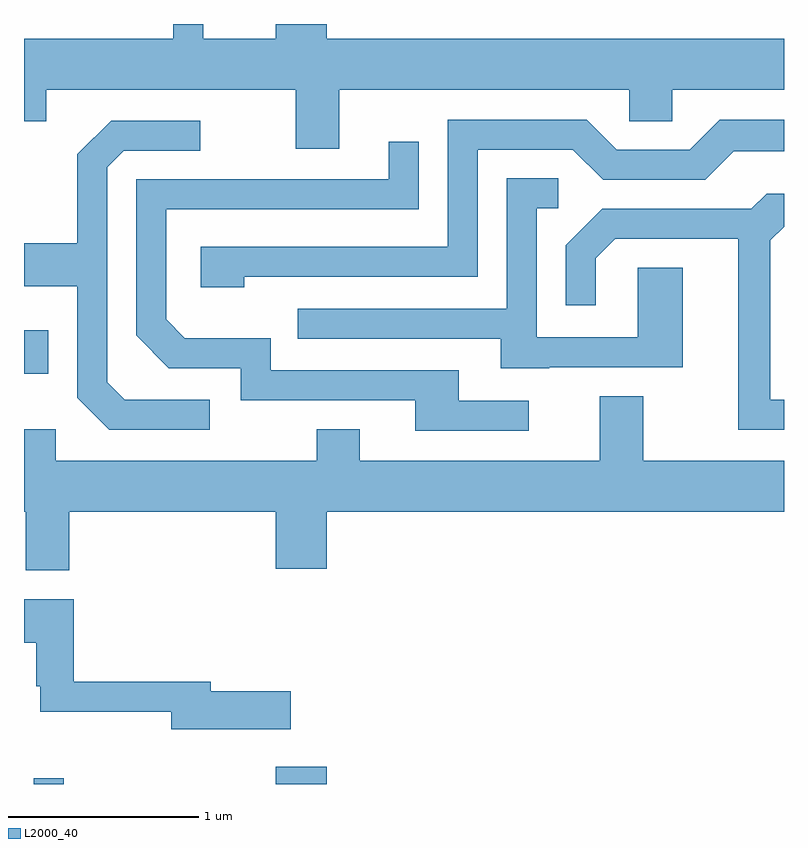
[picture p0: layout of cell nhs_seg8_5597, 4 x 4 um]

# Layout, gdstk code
import gdstk
lib = gdstk.Library(unit=1e-6, precision=1e-09)
def R(c, l, rs):  # rectangles x0, y0, x1, y1
    for r in rs: c.add(gdstk.rectangle(r[:2], r[2:], *l))
def P(c, l, *ps):  # polygons
    for p in ps: c.add(gdstk.Polygon(p, *l))
L2000_40 = (2000, 40)

nhs_seg8_5597 = lib.new_cell('nhs_seg8_5597')
R(nhs_seg8_5597, L2000_40, [(353.661,1808.342,353.819,1808.373), (354.936,1808.342,355.204,1808.434), (353.611,1810.501,353.739,1810.729)])
P(nhs_seg8_5597, L2000_40, [(355.269,1811.996),(356.796,1811.996),(356.796,1811.831),(357.024,1811.831),(357.024,1811.996),(357.611,1811.996),(357.611,1812.264),(355.204,1812.264),(355.204,1812.342),(354.936,1812.342),(354.936,1812.264),(354.554,1812.264),(354.554,1812.342),(354.396,1812.342),(354.396,1812.264),(353.611,1812.264),(353.611,1811.831),(353.729,1811.831),(353.729,1811.996),(355.041,1811.996),(355.041,1811.686),(355.269,1811.686)],
  [(354.769,1811.011),(355.999,1811.011),(355.999,1811.681),(356.499,1811.681),(356.659,1811.521),(357.197,1811.521),(357.347,1811.671),(357.611,1811.671),(357.611,1811.839),(357.274,1811.839),(357.114,1811.679),(356.732,1811.679),(356.572,1811.839),(355.841,1811.839),(355.841,1811.169),(354.541,1811.169),(354.541,1810.956),(354.769,1810.956)],
  [(354.588,1810.364),(354.142,1810.364),(354.049,1810.457),(354.049,1811.589),(354.137,1811.676),(354.538,1811.676),(354.538,1811.834),(354.069,1811.834),(353.891,1811.657),(353.891,1811.189),(353.611,1811.189),(353.611,1810.961),(353.891,1810.961),(353.891,1810.374),(354.059,1810.206),(354.588,1810.206)],
  [(356.268,1810.359),(355.899,1810.359),(355.899,1810.519),(354.909,1810.519),(354.909,1810.689),(354.457,1810.689),(354.359,1810.787),(354.359,1811.366),(355.689,1811.366),(355.689,1811.723),(355.531,1811.723),(355.531,1811.524),(354.201,1811.524),(354.201,1810.704),(354.374,1810.531),(354.751,1810.531),(354.751,1810.361),(355.671,1810.361),(355.671,1810.201),(356.268,1810.201)],
  [(356.375,1810.536),(357.079,1810.536),(357.079,1811.059),(356.841,1811.059),(356.841,1810.694),(356.309,1810.694),(356.309,1811.371),(356.423,1811.371),(356.423,1811.529),(356.151,1811.529),(356.151,1810.844),(355.053,1810.844),(355.053,1810.686),(356.121,1810.686),(356.121,1810.531),(356.375,1810.531)],
  [(357.611,1810.364),(357.539,1810.364),(357.539,1811.204),(357.611,1811.275),(357.611,1811.449),(357.519,1811.449),(357.439,1811.369),(356.654,1811.369),(356.461,1811.177),(356.461,1810.863),(356.619,1810.863),(356.619,1811.109),(356.722,1811.211),(357.371,1811.211),(357.371,1810.206),(357.611,1810.206)],
  [(353.849,1809.776),(354.936,1809.776),(354.936,1809.476),(355.204,1809.476),(355.204,1809.776),(357.611,1809.776),(357.611,1810.044),(356.869,1810.044),(356.869,1810.384),(356.641,1810.384),(356.641,1810.044),(355.379,1810.044),(355.379,1810.209),(355.151,1810.209),(355.151,1810.044),(353.779,1810.044),(353.779,1810.209),(353.611,1810.209),(353.611,1809.776),(353.621,1809.776),(353.621,1809.466),(353.849,1809.466)],
  [(355.014,1808.829),(354.594,1808.829),(354.594,1808.879),(353.874,1808.879),(353.874,1809.314),(353.611,1809.314),(353.611,1809.086),(353.676,1809.086),(353.676,1808.856),(353.696,1808.856),(353.696,1808.721),(354.386,1808.721),(354.386,1808.631),(355.014,1808.631)])

lib.write_gds('nhs_seg8_5597.gds')
